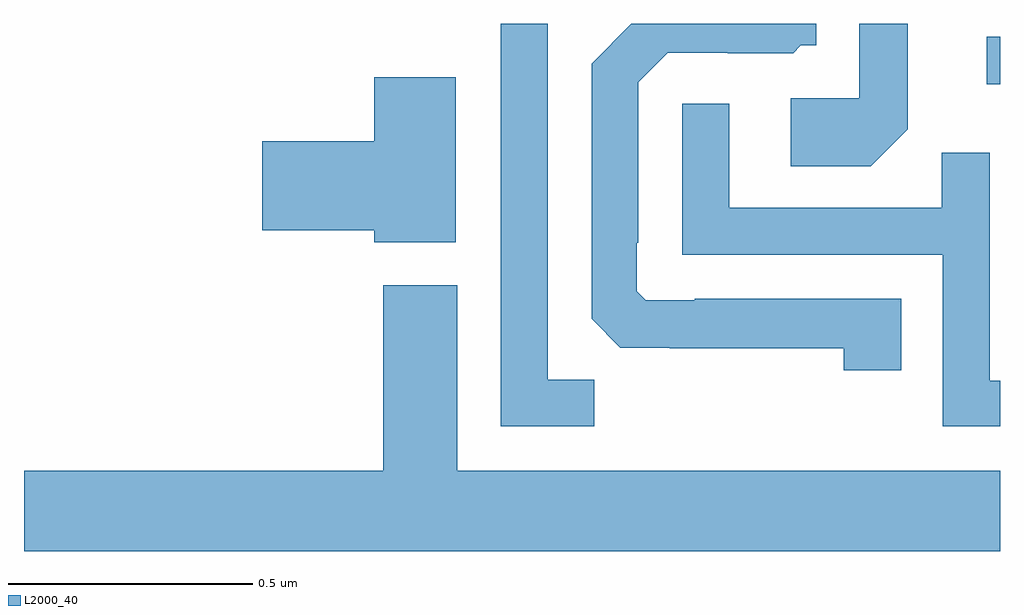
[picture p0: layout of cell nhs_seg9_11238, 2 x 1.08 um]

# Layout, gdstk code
import gdstk
lib = gdstk.Library(unit=1e-6, precision=1e-09)
def R(c, l, rs):  # rectangles x0, y0, x1, y1
    for r in rs: c.add(gdstk.rectangle(r[:2], r[2:], *l))
def P(c, l, *ps):  # polygons
    for p in ps: c.add(gdstk.Polygon(p, *l))
L2000_40 = (2000, 40)

nhs_seg9_11238 = lib.new_cell('nhs_seg9_11238')
R(nhs_seg9_11238, L2000_40, [(254.973,1197.377,255,1197.474)])
P(nhs_seg9_11238, L2000_40, [(254.169,1196.771),(254.073,1196.771),(254.073,1197.5),(253.977,1197.5),(253.977,1196.676),(254.169,1196.676)],
  [(254.811,1197.284),(254.811,1197.5),(254.712,1197.5),(254.712,1197.348),(254.571,1197.348),(254.571,1197.208),(254.735,1197.208)],
  [(254.798,1196.937),(254.374,1196.937),(254.374,1196.934),(254.274,1196.934),(254.256,1196.952),(254.256,1197.052),(254.259,1197.052),(254.259,1197.381),(254.319,1197.441),(254.442,1197.441),(254.442,1197.44),(254.576,1197.44),(254.592,1197.456),(254.623,1197.456),(254.623,1197.5),(254.244,1197.5),(254.163,1197.418),(254.163,1196.896),(254.222,1196.837),(254.323,1196.837),(254.323,1196.836),(254.68,1196.836),(254.68,1196.79),(254.798,1196.79)],
  [(253.885,1197.391),(253.718,1197.391),(253.718,1197.26),(253.488,1197.26),(253.488,1197.077),(253.718,1197.077),(253.718,1197.053),(253.885,1197.053)],
  [(255,1196.769),(254.979,1196.769),(254.979,1197.236),(254.881,1197.236),(254.881,1197.123),(254.445,1197.123),(254.445,1197.337),(254.349,1197.337),(254.349,1197.027),(254.883,1197.027),(254.883,1196.676),(255,1196.676)],
  [(255,1196.584),(253.888,1196.584),(253.888,1196.965),(253.736,1196.965),(253.736,1196.584),(253,1196.584),(253,1196.42),(255,1196.42)])

lib.write_gds('nhs_seg9_11238.gds')
